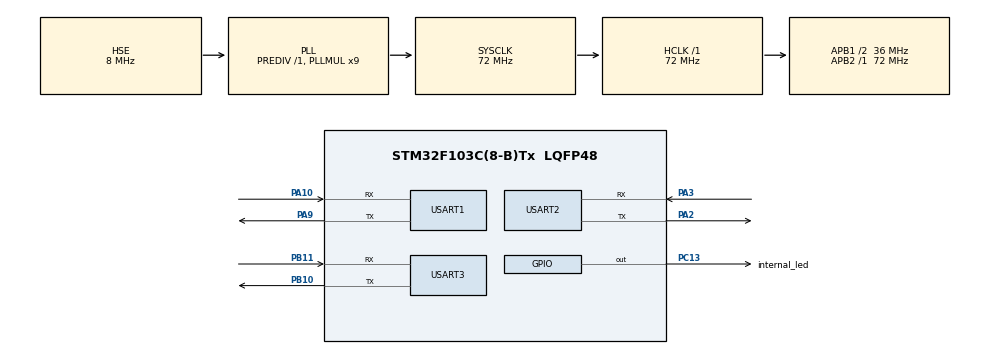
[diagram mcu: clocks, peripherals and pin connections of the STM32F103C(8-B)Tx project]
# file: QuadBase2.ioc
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Dma.Request0=USART3_RX
Dma.Request1=USART2_RX
Dma.Request2=USART2_TX
Dma.Request3=USART1_RX
Dma.Request4=USART1_TX
Dma.USART1_RX.3.Direction=DMA_PERIPH_TO_MEMORY
Dma.USART1_RX.3.Instance=DMA1_Channel5
Dma.USART1_RX.3.MemDataAlignment=DMA_MDATAALIGN_BYTE
Dma.USART1_RX.3.MemInc=DMA_MINC_ENABLE
Dma.USART1_RX.3.Mode=DMA_CIRCULAR
Dma.USART1_RX.3.PeriphDataAlignment=DMA_PDATAALIGN_BYTE
Dma.USART1_RX.3.PeriphInc=DMA_PINC_DISABLE
Dma.USART1_RX.3.Priority=DMA_PRIORITY_LOW
Dma.USART1_TX.4.Direction=DMA_MEMORY_TO_PERIPH
Dma.USART1_TX.4.Instance=DMA1_Channel4
Dma.USART1_TX.4.MemDataAlignment=DMA_MDATAALIGN_BYTE
Dma.USART1_TX.4.MemInc=DMA_MINC_ENABLE
Dma.USART1_TX.4.Mode=DMA_CIRCULAR
Dma.USART1_TX.4.PeriphDataAlignment=DMA_PDATAALIGN_BYTE
Dma.USART1_TX.4.PeriphInc=DMA_PINC_DISABLE
Dma.USART1_TX.4.Priority=DMA_PRIORITY_LOW
Dma.USART2_RX.1.Direction=DMA_PERIPH_TO_MEMORY
Dma.USART2_RX.1.Instance=DMA1_Channel6
Dma.USART2_RX.1.MemDataAlignment=DMA_MDATAALIGN_BYTE
Dma.USART2_RX.1.MemInc=DMA_MINC_ENABLE
Dma.USART2_RX.1.Mode=DMA_CIRCULAR
Dma.USART2_RX.1.PeriphDataAlignment=DMA_PDATAALIGN_BYTE
Dma.USART2_RX.1.PeriphInc=DMA_PINC_DISABLE
Dma.USART2_RX.1.Priority=DMA_PRIORITY_LOW
Dma.USART2_TX.2.Direction=DMA_MEMORY_TO_PERIPH
Dma.USART2_TX.2.Instance=DMA1_Channel7
Dma.USART2_TX.2.MemDataAlignment=DMA_MDATAALIGN_BYTE
Dma.USART2_TX.2.MemInc=DMA_MINC_ENABLE
Dma.USART2_TX.2.Mode=DMA_CIRCULAR
Dma.USART2_TX.2.PeriphDataAlignment=DMA_PDATAALIGN_BYTE
Dma.USART2_TX.2.PeriphInc=DMA_PINC_DISABLE
Dma.USART2_TX.2.Priority=DMA_PRIORITY_LOW
Dma.USART3_RX.0.Direction=DMA_PERIPH_TO_MEMORY
Dma.USART3_RX.0.Instance=DMA1_Channel3
Dma.USART3_RX.0.MemDataAlignment=DMA_MDATAALIGN_BYTE
Dma.USART3_RX.0.MemInc=DMA_MINC_ENABLE
Dma.USART3_RX.0.Mode=DMA_CIRCULAR
Dma.USART3_RX.0.PeriphDataAlignment=DMA_PDATAALIGN_BYTE
Dma.USART3_RX.0.PeriphInc=DMA_PINC_DISABLE
Dma.USART3_RX.0.Priority=DMA_PRIORITY_LOW
Mcu.Family=STM32F1
Mcu.Name=STM32F103C(8-B)Tx
Mcu.Package=LQFP48
NVIC.DMA1_Channel3_IRQn=true\:0\:0\:false\:false\:true\:false\:true\:true
NVIC.DMA1_Channel4_IRQn=true\:0\:0\:false\:false\:true\:false\:true\:true
NVIC.DMA1_Channel5_IRQn=true\:0\:0\:false\:false\:true\:false\:true\:true
NVIC.DMA1_Channel6_IRQn=true\:0\:0\:false\:false\:true\:false\:true\:true
NVIC.DMA1_Channel7_IRQn=true\:0\:0\:false\:false\:true\:false\:true\:true
NVIC.PriorityGroup=NVIC_PRIORITYGROUP_4
NVIC.USART1_IRQn=true\:0\:0\:false\:false\:true\:true\:true\:true
PA10.Mode=Asynchronous
PA10.Signal=USART1_RX
PA13.Mode=Serial_Wire
PA13.Signal=SYS_JTMS-SWDIO
PA14.Mode=Serial_Wire
PA14.Signal=SYS_JTCK-SWCLK
PA2.Mode=Asynchronous
PA2.Signal=USART2_TX
PA3.Mode=Asynchronous
PA3.Signal=USART2_RX
PA9.Mode=Asynchronous
PA9.Signal=USART1_TX
PB10.Mode=Asynchronous
PB10.Signal=USART3_TX
PB11.Mode=Asynchronous
PB11.Signal=USART3_RX
PC13-TAMPER-RTC.GPIO_Label=internal_led
PC13-TAMPER-RTC.Signal=GPIO_Output
PC14-OSC32_IN.Mode=LSE-External-Clock-Source
PC14-OSC32_IN.Signal=RCC_OSC32_IN
PC15-OSC32_OUT.Mode=LSE-External-Clock-Source
PC15-OSC32_OUT.Signal=RCC_OSC32_OUT
PD0-OSC_IN.Mode=HSE-External-Oscillator
PD0-OSC_IN.Signal=RCC_OSC_IN
PD1-OSC_OUT.Mode=HSE-External-Oscillator
PD1-OSC_OUT.Signal=RCC_OSC_OUT
ProjectManager.HeapSize=0x200
ProjectManager.StackSize=0x400
ProjectManager.TargetToolchain=STM32CubeIDE
RCC.AHBFreq_Value=72000000
RCC.APB1CLKDivider=RCC_HCLK_DIV2
RCC.APB1Freq_Value=36000000
RCC.APB1TimFreq_Value=72000000
RCC.APB2Freq_Value=72000000
RCC.APB2TimFreq_Value=72000000
RCC.HCLKFreq_Value=72000000
RCC.PLLMUL=RCC_PLL_MUL9
RCC.PLLSourceVirtual=RCC_PLLSOURCE_HSE
RCC.SYSCLKFreq_VALUE=72000000
RCC.SYSCLKSource=RCC_SYSCLKSOURCE_PLLCLK
RCC.USBFreq_Value=72000000
TIM1.AutoReloadPreload=TIM_AUTORELOAD_PRELOAD_ENABLE
TIM1.Period=255
USART1.VirtualMode=VM_ASYNC
USART2.VirtualMode=VM_ASYNC
USART3.VirtualMode=VM_ASYNC
VP_TIM1_VS_ClockSourceINT.Mode=Internal
board=custom

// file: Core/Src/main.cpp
/* USER CODE BEGIN Header */
/**
  ******************************************************************************
  * @file           : main.c
  * @brief          : Main program body
  ******************************************************************************
  * @attention
  *
  * Copyright (c) 2024 STMicroelectronics.
  * All rights reserved.
  *
  * This software is licensed under terms that can be found in the LICENSE file
  * in the root directory of this software component.
  * If no LICENSE file comes with this software, it is provided AS-IS.
  *
  ******************************************************************************
  */
/* USER CODE END Header */
#include "main.h"

/* USER CODE BEGIN Includes */
#include "PID.h"
#include "GY_25.h"
#include "Motor.h"
#include "string.h"
#include "QuadBase.h"
/* USER CODE END Includes */

/* USER CODE BEGIN PD */
#define total_speed 60
/* USER CODE END PD */

TIM_HandleTypeDef htim1;

UART_HandleTypeDef huart1;
UART_HandleTypeDef huart2;
UART_HandleTypeDef huart3;
DMA_HandleTypeDef hdma_usart1_rx;
DMA_HandleTypeDef hdma_usart1_tx;
DMA_HandleTypeDef hdma_usart2_rx;
DMA_HandleTypeDef hdma_usart2_tx;
DMA_HandleTypeDef hdma_usart3_rx;

void SystemClock_Config(void);
static void MX_GPIO_Init(void);
static void MX_DMA_Init(void);
static void MX_TIM1_Init(void);
static void MX_USART3_UART_Init(void);
static void MX_USART1_UART_Init(void);
static void MX_USART2_UART_Init(void);

/* USER CODE BEGIN 0 */
const uint8_t data_size = 10;
uint8_t received_data[data_size+2];
uint8_t ordered_data[data_size];

GY_25 imu(huart2);

float cross_angle = 2*3.1415926535/8;
float x_velocity = 0;
float y_velocity = 0;
float omega = 0;
QuadBaseKinematics Base;
MOTOR motor1(huart1, 0b0000);
MOTOR motor2(huart1, 0b1001);
MOTOR motor3(huart1, 0b0001);
MOTOR motor4(huart1, 0b1000);

float set_point_angle = 0;
float current_angle = 0;
float angle_error = 0;
float pid_output = 0;

PID pid(1, 0, 0.2);
/* USER CODE END 0 */

int main(void)
{

  /* MCU Configuration--------------------------------------------------------*/

  /* Reset of all peripherals, Initializes the Flash interface and the Systick. */
  HAL_Init();

  /* Configure the system clock */
  SystemClock_Config();

  /* Initialize all configured peripherals */
  MX_GPIO_Init();
  MX_DMA_Init();
  MX_TIM1_Init();
  MX_USART3_UART_Init();
  MX_USART1_UART_Init();
  MX_USART2_UART_Init();
  /* USER CODE BEGIN 2 */
  HAL_Delay(1000);
  motor1.motor_init();
  motor2.motor_init();
  motor3.motor_init();
  motor4.motor_init();
  Base.set_speed_scalers(143*total_speed/144, 143*total_speed/177, total_speed, 143*total_speed/189);
  Base.set_speed_scalers(Base.motor1_base_speed*2, Base.motor2_base_speed, Base.motor3_base_speed*2, Base.motor4_base_speed);

  imu.update_counts();
  imu.update_angles();
  set_point_angle = imu.x_angle;
  current_angle = set_point_angle;

  HAL_UART_Receive_DMA(&huart3, received_data, data_size+2);
  /* USER CODE END 2 */

  /* Infinite loop */
  while (1)
  {

    /* USER CODE BEGIN 3 */
  	  for (uint8_t i = 0; i<data_size+2; i++){
  		  if (received_data[i] == 1 && received_data[(i+data_size+1)%(data_size+2)] == 4){
  			  for (uint8_t j = 0; j<data_size; j++){
  				  ordered_data[j] = received_data[(i+j+1)%(data_size+2)];
  			  }
  		  }
  	  }

  	  x_velocity = 0;
  	  y_velocity = 0;
  	  omega = 0;
  	  if (ordered_data[0] >= 5) { // forward as plus
  		  y_velocity += 1;
  	  }
  	  if (ordered_data[1] >= 5) { // right as plus
  		  x_velocity -= 1;
  	  }
  	  if (ordered_data[2] >= 5) { // backward as plus
  		  y_velocity -= 1;
  	  }
  	  if (ordered_data[3] >= 5) { // left as plus
  		  x_velocity += 1;
  	  }
  	  if (ordered_data[4] >= 5) { // forward as cross
  		  x_velocity += 1;
  		  y_velocity += 1;
  	  }
  	  if (ordered_data[5] >= 5) { // right as cross
  		  x_velocity -= 1;
  		  y_velocity += 1;
  	  }
  	  if (ordered_data[6] >= 5) { // backward as cross
  		  x_velocity -= 1;
  		  y_velocity -= 1;
  	  }
  	  if (ordered_data[7] >= 5) { // left as cross
  		  x_velocity += 1;
  		  y_velocity -= 1;
  	  }
  	  if (ordered_data[8] >= 5) { // clockwise
  	  	  set_point_angle = imu.x_angle;
  		  omega -= 1;
  	  }
  	  else if (ordered_data[9] >= 5) { // anti clockwise
  	  	  set_point_angle = imu.x_angle;
  		  omega += 1;
  	  }
  	  else {
  		  imu.update_counts();
  		  imu.update_angles();
  		  current_angle = imu.x_angle;
  		  angle_error = (set_point_angle - current_angle)*2*3.1415926535/360;
  		  pid_output = pid.compute(angle_error);
  		  omega = pid_output;
  	  }

  	  Base.brake();

  	  Base.calculate_speeds(0, x_velocity, y_velocity, omega);
  	  motor1.set_speed(Base.speed1);
  	  motor2.set_speed(Base.speed2);
  	  motor3.set_speed(Base.speed3);
  	  motor4.set_speed(Base.speed4);

//  	  float angle_data[3] = {imu.x_angle, imu.y_angle, imu.z_angle};
//  	  uint8_t sending_data[sizeof(angle_data)+2];
//  	  sending_data[0] = 1;
//  	  sending_data[sizeof(sending_data)-1] = 4;
//  	  memcpy(sending_data+1, angle_data, sizeof(angle_data));
//  	  HAL_UART_Transmit(&huart3, sending_data, 12, HAL_MAX_DELAY);
  }
  /* USER CODE END 3 */
}

void SystemClock_Config(void)
{
  RCC_OscInitTypeDef RCC_OscInitStruct = {0};
  RCC_ClkInitTypeDef RCC_ClkInitStruct = {0};

  /** Initializes the RCC Oscillators according to the specified parameters
  * in the RCC_OscInitTypeDef structure.
  */
  RCC_OscInitStruct.OscillatorType = RCC_OSCILLATORTYPE_HSE;
  RCC_OscInitStruct.HSEState = RCC_HSE_ON;
  RCC_OscInitStruct.HSEPredivValue = RCC_HSE_PREDIV_DIV1;
  RCC_OscInitStruct.HSIState = RCC_HSI_ON;
  RCC_OscInitStruct.PLL.PLLState = RCC_PLL_ON;
  RCC_OscInitStruct.PLL.PLLSource = RCC_PLLSOURCE_HSE;
  RCC_OscInitStruct.PLL.PLLMUL = RCC_PLL_MUL9;
  if (HAL_RCC_OscConfig(&RCC_OscInitStruct) != HAL_OK)
  {
    Error_Handler();
  }

  /** Initializes the CPU, AHB and APB buses clocks
  */
  RCC_ClkInitStruct.ClockType = RCC_CLOCKTYPE_HCLK|RCC_CLOCKTYPE_SYSCLK
                              |RCC_CLOCKTYPE_PCLK1|RCC_CLOCKTYPE_PCLK2;
  RCC_ClkInitStruct.SYSCLKSource = RCC_SYSCLKSOURCE_PLLCLK;
  RCC_ClkInitStruct.AHBCLKDivider = RCC_SYSCLK_DIV1;
  RCC_ClkInitStruct.APB1CLKDivider = RCC_HCLK_DIV2;
  RCC_ClkInitStruct.APB2CLKDivider = RCC_HCLK_DIV1;

  if (HAL_RCC_ClockConfig(&RCC_ClkInitStruct, FLASH_LATENCY_2) != HAL_OK)
  {
    Error_Handler();
  }
}

static void MX_TIM1_Init(void)
{

  TIM_ClockConfigTypeDef sClockSourceConfig = {0};
  TIM_MasterConfigTypeDef sMasterConfig = {0};

  htim1.Instance = TIM1;
  htim1.Init.Prescaler = 0;
  htim1.Init.CounterMode = TIM_COUNTERMODE_UP;
  htim1.Init.Period = 255;
  htim1.Init.ClockDivision = TIM_CLOCKDIVISION_DIV1;
  htim1.Init.RepetitionCounter = 0;
  htim1.Init.AutoReloadPreload = TIM_AUTORELOAD_PRELOAD_ENABLE;
  if (HAL_TIM_Base_Init(&htim1) != HAL_OK)
  {
    Error_Handler();
  }
  sClockSourceConfig.ClockSource = TIM_CLOCKSOURCE_INTERNAL;
  if (HAL_TIM_ConfigClockSource(&htim1, &sClockSourceConfig) != HAL_OK)
  {
    Error_Handler();
  }
  sMasterConfig.MasterOutputTrigger = TIM_TRGO_RESET;
  sMasterConfig.MasterSlaveMode = TIM_MASTERSLAVEMODE_DISABLE;
  if (HAL_TIMEx_MasterConfigSynchronization(&htim1, &sMasterConfig) != HAL_OK)
  {
    Error_Handler();
  }

}

static void MX_USART1_UART_Init(void)
{

  huart1.Instance = USART1;
  huart1.Init.BaudRate = 115200;
  huart1.Init.WordLength = UART_WORDLENGTH_8B;
  huart1.Init.StopBits = UART_STOPBITS_1;
  huart1.Init.Parity = UART_PARITY_NONE;
  huart1.Init.Mode = UART_MODE_TX_RX;
  huart1.Init.HwFlowCtl = UART_HWCONTROL_NONE;
  huart1.Init.OverSampling = UART_OVERSAMPLING_16;
  if (HAL_UART_Init(&huart1) != HAL_OK)
  {
    Error_Handler();
  }

}

static void MX_USART2_UART_Init(void)
{

  huart2.Instance = USART2;
  huart2.Init.BaudRate = 115200;
  huart2.Init.WordLength = UART_WORDLENGTH_8B;
  huart2.Init.StopBits = UART_STOPBITS_1;
  huart2.Init.Parity = UART_PARITY_NONE;
  huart2.Init.Mode = UART_MODE_TX_RX;
  huart2.Init.HwFlowCtl = UART_HWCONTROL_NONE;
  huart2.Init.OverSampling = UART_OVERSAMPLING_16;
  if (HAL_UART_Init(&huart2) != HAL_OK)
  {
    Error_Handler();
  }

}

static void MX_USART3_UART_Init(void)
{

  huart3.Instance = USART3;
  huart3.Init.BaudRate = 115200;
  huart3.Init.WordLength = UART_WORDLENGTH_8B;
  huart3.Init.StopBits = UART_STOPBITS_1;
  huart3.Init.Parity = UART_PARITY_NONE;
  huart3.Init.Mode = UART_MODE_TX_RX;
  huart3.Init.HwFlowCtl = UART_HWCONTROL_NONE;
  huart3.Init.OverSampling = UART_OVERSAMPLING_16;
  if (HAL_UART_Init(&huart3) != HAL_OK)
  {
    Error_Handler();
  }

}

static void MX_DMA_Init(void)
{

  /* DMA controller clock enable */
  __HAL_RCC_DMA1_CLK_ENABLE();

  /* DMA interrupt init */
  /* DMA1_Channel3_IRQn interrupt configuration */
  HAL_NVIC_SetPriority(DMA1_Channel3_IRQn, 0, 0);
  HAL_NVIC_EnableIRQ(DMA1_Channel3_IRQn);
  /* DMA1_Channel4_IRQn interrupt configuration */
  HAL_NVIC_SetPriority(DMA1_Channel4_IRQn, 0, 0);
  HAL_NVIC_EnableIRQ(DMA1_Channel4_IRQn);
  /* DMA1_Channel5_IRQn interrupt configuration */
  HAL_NVIC_SetPriority(DMA1_Channel5_IRQn, 0, 0);
  HAL_NVIC_EnableIRQ(DMA1_Channel5_IRQn);
  /* DMA1_Channel6_IRQn interrupt configuration */
  HAL_NVIC_SetPriority(DMA1_Channel6_IRQn, 0, 0);
  HAL_NVIC_EnableIRQ(DMA1_Channel6_IRQn);
  /* DMA1_Channel7_IRQn interrupt configuration */
  HAL_NVIC_SetPriority(DMA1_Channel7_IRQn, 0, 0);
  HAL_NVIC_EnableIRQ(DMA1_Channel7_IRQn);

}

static void MX_GPIO_Init(void)
{
  GPIO_InitTypeDef GPIO_InitStruct = {0};

  /* GPIO Ports Clock Enable */
  __HAL_RCC_GPIOC_CLK_ENABLE();
  __HAL_RCC_GPIOD_CLK_ENABLE();
  __HAL_RCC_GPIOA_CLK_ENABLE();
  __HAL_RCC_GPIOB_CLK_ENABLE();

  /*Configure GPIO pin Output Level */
  HAL_GPIO_WritePin(internal_led_GPIO_Port, internal_led_Pin, GPIO_PIN_RESET);

  /*Configure GPIO pin : internal_led_Pin */
  GPIO_InitStruct.Pin = internal_led_Pin;
  GPIO_InitStruct.Mode = GPIO_MODE_OUTPUT_PP;
  GPIO_InitStruct.Pull = GPIO_NOPULL;
  GPIO_InitStruct.Speed = GPIO_SPEED_FREQ_LOW;
  HAL_GPIO_Init(internal_led_GPIO_Port, &GPIO_InitStruct);

}

void Error_Handler(void)
{
  __disable_irq();
  while (1)
  {
  }
}
